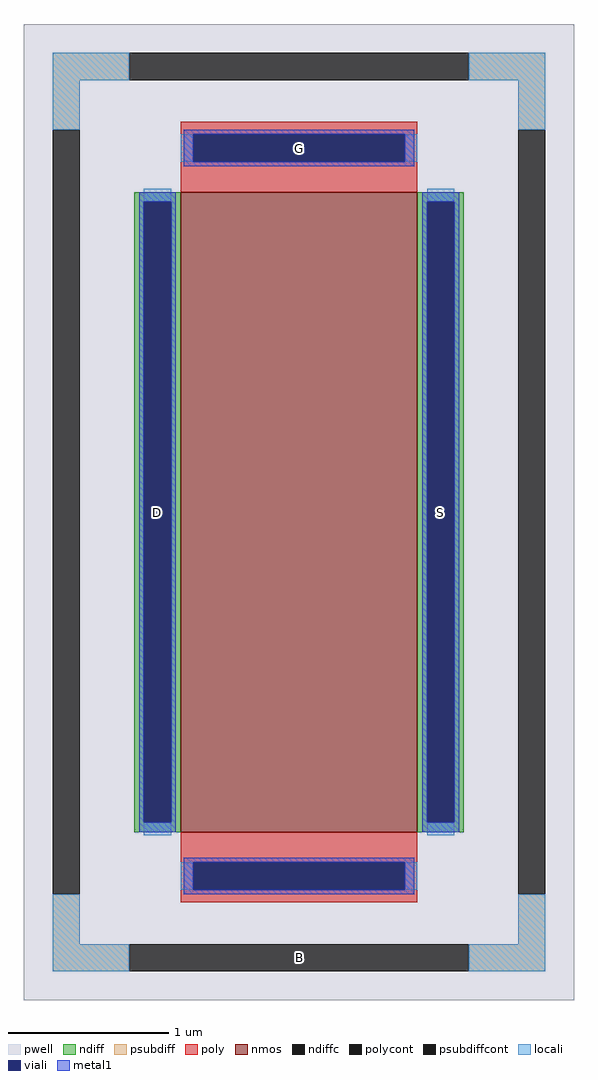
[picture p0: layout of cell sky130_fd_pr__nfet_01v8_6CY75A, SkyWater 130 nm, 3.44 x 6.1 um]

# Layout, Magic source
magic
tech sky130A
magscale 1 2
<< pwell >>
rect -344 -610 344 610
<< nmos >>
rect -148 -400 148 400
<< ndiff >>
rect -206 388 -148 400
rect -206 -388 -194 388
rect -160 -388 -148 388
rect -206 -400 -148 -388
rect 148 388 206 400
rect 148 -388 160 388
rect 194 -388 206 388
rect 148 -400 206 -388
<< ndiffc >>
rect -194 -388 -160 388
rect 160 -388 194 388
<< psubdiff >>
rect -308 540 -212 574
rect 212 540 308 574
rect -308 478 -274 540
rect 274 478 308 540
rect -308 -540 -274 -478
rect 274 -540 308 -478
rect -308 -574 -212 -540
rect 212 -574 308 -540
<< psubdiffcont >>
rect -212 540 212 574
rect -308 -478 -274 478
rect 274 -478 308 478
rect -212 -574 212 -540
<< poly >>
rect -148 472 148 488
rect -148 438 -132 472
rect 132 438 148 472
rect -148 400 148 438
rect -148 -438 148 -400
rect -148 -472 -132 -438
rect 132 -472 148 -438
rect -148 -488 148 -472
<< polycont >>
rect -132 438 132 472
rect -132 -472 132 -438
<< locali >>
rect -308 540 -212 574
rect 212 540 308 574
rect -308 478 -274 540
rect 274 478 308 540
rect -148 438 -132 472
rect 132 438 148 472
rect -194 388 -160 404
rect -194 -404 -160 -388
rect 160 388 194 404
rect 160 -404 194 -388
rect -148 -472 -132 -438
rect 132 -472 148 -438
rect -308 -540 -274 -478
rect 274 -540 308 -478
rect -308 -574 -212 -540
rect 212 -574 308 -540
<< viali >>
rect -132 438 132 472
rect -194 -388 -160 388
rect 160 -388 194 388
rect -132 -472 132 -438
<< metal1 >>
rect -144 472 144 478
rect -144 438 -132 472
rect 132 438 144 472
rect -144 432 144 438
rect -200 388 -154 400
rect -200 -388 -194 388
rect -160 -388 -154 388
rect -200 -400 -154 -388
rect 154 388 200 400
rect 154 -388 160 388
rect 194 -388 200 388
rect 154 -400 200 -388
rect -144 -438 144 -432
rect -144 -472 -132 -438
rect 132 -472 144 -438
rect -144 -478 144 -472
<< labels >>
rlabel psubdiffcont 0 -557 0 -557 0 B
port 5 nsew
rlabel ndiffc -177 0 -177 0 0 D
port 6 nsew
rlabel ndiffc 177 0 177 0 0 S
port 7 nsew
rlabel polycont 0 455 0 455 0 G
port 8 nsew
<< properties >>
string FIXED_BBOX -291 -557 291 557
string gencell sky130_fd_pr__nfet_01v8
string library sky130
string parameters w 4.0 l 1.475 m 1 nf 1 diffcov 100 polycov 100 guard 1 glc 1 grc 1 gtc 1 gbc 1 tbcov 100 rlcov 100 topc 1 botc 1 poverlap 0 doverlap 1 lmin 0.15 wmin 0.42 class mosfet compatible {sky130_fd_pr__nfet_01v8 sky130_fd_pr__nfet_01v8_lvt  sky130_fd_bs_flash__special_sonosfet_star  sky130_fd_pr__nfet_g5v0d10v5 sky130_fd_pr__nfet_05v0_nvt  sky130_fd_pr__nfet_03v3_nvt} full_metal 1 conn_gates 0 viasrc 100 viadrn 100 viagate 100 viagb 0 viagr 0 viagl 0 viagt 0 doports 1
<< end >>
